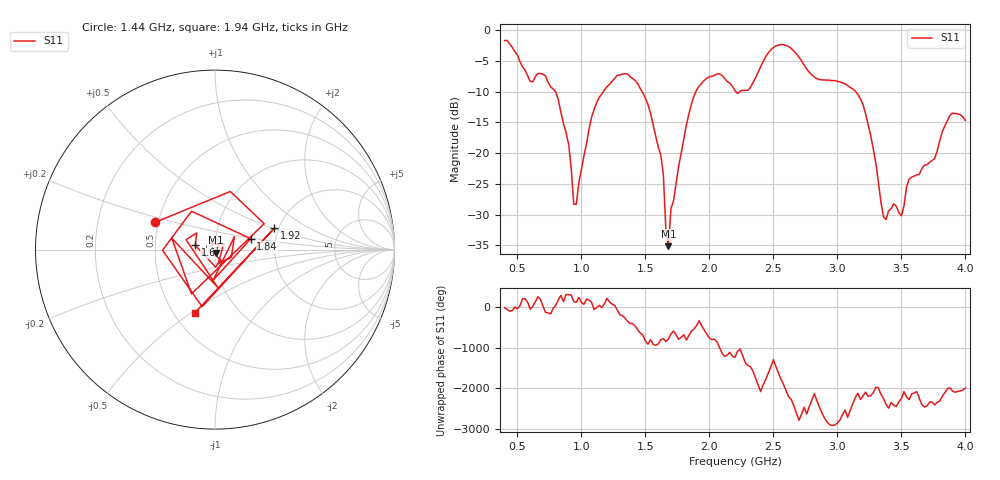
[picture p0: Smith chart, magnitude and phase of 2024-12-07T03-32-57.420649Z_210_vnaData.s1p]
!Created with skrf (http://scikit-rf.org).
# Hz S RI R 50.0
!freq ReS11 ImS11
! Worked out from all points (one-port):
!   181 points, 400 MHz to 4 GHz, reference 50 ohm
!   lowest |S11| = -35.1 dB at 1.68 GHz (marker M1), VSWR 1.04, Z = 50.5 - j1.69 ohm
!   |S11| at or under -10 dB: 796.8 MHz to 1.171 GHz (374 MHz wide, 38 % of centre); 1.475 GHz to 1.894 GHz (419.6 MHz wide, 24.9 % of centre); 3.143 GHz to end of sweep (the widest 3 of 4)
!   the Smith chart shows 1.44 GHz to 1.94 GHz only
!   S11 on the Smith chart (normalised r, x): 1.44 GHz: 0.48, +0.17; 1.6 GHz: 0.80, +0.04; 1.84 GHz: 1.48, +0.19; 1.92 GHz: 1.89, +0.51; 1.94 GHz: 0.63, -0.52
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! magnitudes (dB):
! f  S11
! 400 MHz  -1.7
! 600 MHz  -8.3
! 720 MHz  -7.4
! 860 MHz  -15.2
! 960 MHz  -28.3
! 1.1 GHz  -12.9
! 1.3 GHz  -7.3
! 1.44 GHz  -8.7
! 1.6 GHz  -19.0
! 1.64 GHz  -23.4
! 1.66 GHz  -32.5
! 1.68 GHz  -35.1
! 1.7 GHz  -29.0
! 1.76 GHz  -22.1
! 1.84 GHz  -13.6
! 1.92 GHz  -9.1
! 1.94 GHz  -8.6
! 2.2 GHz  -9.8
! 2.5 GHz  -2.8
! 2.66 GHz  -3.4
! 3.1 GHz  -9.3
! 3.22 GHz  -13.6
! 3.36 GHz  -30.4
! 3.5 GHz  -30.2
! 3.56 GHz  -24.2
! 3.76 GHz  -20.9
! 3.88 GHz  -13.9
! 4 GHz  -14.7
